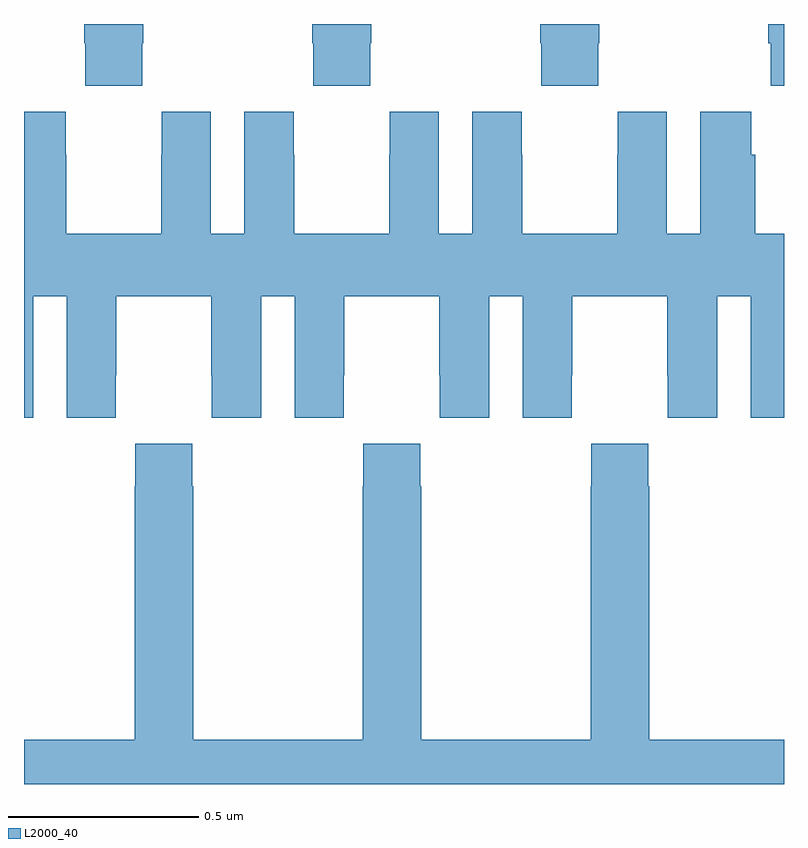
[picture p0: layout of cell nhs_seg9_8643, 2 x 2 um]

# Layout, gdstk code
import gdstk
lib = gdstk.Library(unit=1e-6, precision=1e-09)
def P(c, l, *ps):  # polygons
    for p in ps: c.add(gdstk.Polygon(p, *l))
L2000_40 = (2000, 40)

nhs_seg9_8643 = lib.new_cell('nhs_seg9_8643')
P(nhs_seg9_8643, L2000_40, [(222,1166.5),(221.959,1166.5),(221.959,1166.449),(221.965,1166.449),(221.965,1166.337),(222,1166.337)],
  [(221.511,1166.449),(221.514,1166.449),(221.514,1166.5),(221.359,1166.5),(221.359,1166.449),(221.361,1166.449),(221.361,1166.337),(221.511,1166.337)],
  [(220.911,1166.449),(220.914,1166.449),(220.914,1166.5),(220.759,1166.5),(220.759,1166.449),(220.761,1166.449),(220.761,1166.337),(220.911,1166.337)],
  [(220.311,1166.449),(220.314,1166.449),(220.314,1166.5),(220.159,1166.5),(220.159,1166.449),(220.161,1166.449),(220.161,1166.337),(220.311,1166.337)],
  [(220.024,1165.784),(220.112,1165.784),(220.112,1165.464),(220.242,1165.464),(220.242,1165.576),(220.243,1165.576),(220.243,1165.784),(220.493,1165.784),(220.493,1165.576),(220.494,1165.576),(220.494,1165.464),(220.624,1165.464),(220.624,1165.784),(220.712,1165.784),(220.712,1165.464),(220.842,1165.464),(220.842,1165.576),(220.843,1165.576),(220.843,1165.784),(221.093,1165.784),(221.093,1165.576),(221.094,1165.576),(221.094,1165.464),(221.224,1165.464),(221.224,1165.784),(221.312,1165.784),(221.312,1165.464),(221.442,1165.464),(221.442,1165.576),(221.443,1165.576),(221.443,1165.784),(221.693,1165.784),(221.693,1165.576),(221.694,1165.576),(221.694,1165.464),(221.824,1165.464),(221.824,1165.784),(221.912,1165.784),(221.912,1165.464),(222,1165.464),(222,1165.948),(221.924,1165.948),(221.924,1166.156),(221.914,1166.156),(221.914,1166.269),(221.78,1166.269),(221.78,1165.948),(221.692,1165.948),(221.692,1166.269),(221.562,1166.269),(221.562,1166.156),(221.561,1166.156),(221.561,1165.948),(221.311,1165.948),(221.311,1166.156),(221.31,1166.156),(221.31,1166.269),(221.18,1166.269),(221.18,1165.948),(221.092,1165.948),(221.092,1166.269),(220.962,1166.269),(220.962,1166.156),(220.961,1166.156),(220.961,1165.948),(220.711,1165.948),(220.711,1166.156),(220.71,1166.156),(220.71,1166.269),(220.58,1166.269),(220.58,1165.948),(220.492,1165.948),(220.492,1166.269),(220.362,1166.269),(220.362,1166.156),(220.361,1166.156),(220.361,1165.948),(220.111,1165.948),(220.111,1166.156),(220.11,1166.156),(220.11,1166.269),(220,1166.269),(220,1165.464),(220.024,1165.464)],
  [(222,1164.616),(221.646,1164.616),(221.646,1165.283),(221.643,1165.283),(221.643,1165.396),(221.493,1165.396),(221.493,1165.283),(221.491,1165.283),(221.491,1164.616),(221.046,1164.616),(221.046,1165.283),(221.043,1165.283),(221.043,1165.396),(220.893,1165.396),(220.893,1165.283),(220.891,1165.283),(220.891,1164.616),(220.446,1164.616),(220.446,1165.283),(220.443,1165.283),(220.443,1165.396),(220.293,1165.396),(220.293,1165.283),(220.291,1165.283),(220.291,1164.616),(220,1164.616),(220,1164.5),(222,1164.5)])

lib.write_gds('nhs_seg9_8643.gds')
